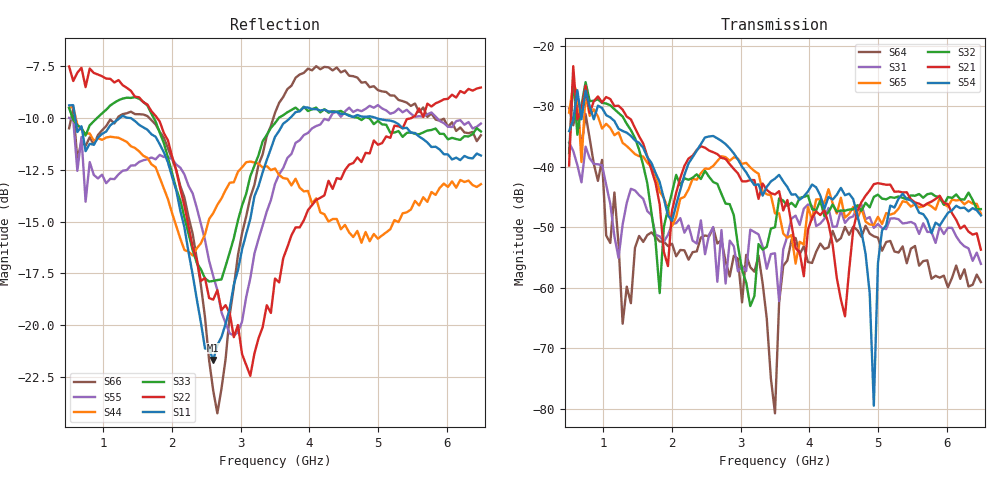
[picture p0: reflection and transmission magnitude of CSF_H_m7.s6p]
!Keysight Technologies,M9804A,MY58100912,A.14.10.03
!Date: Thursday, April 27, 2023 10:28:33
!Correction: S11(C  6-Port  )
!S12(C  6-Port  )
!S13(C  6-Port  )
!S14(C  6-Port  )
!S15(C  6-Port  )
!S16(C  6-Port  )
!S21(C  6-Port  )
!S22(C  6-Port  )
!S23(C  6-Port  )
!S24(C  6-Port  )
!S25(C  6-Port  )
!S26(C  6-Port  )
!S31(C  6-Port  )
!S32(C  6-Port  )
!S33(C  6-Port  )
!S34(C  6-Port  )
!S35(C  6-Port  )
!S36(C  6-Port  )
!S41(C  6-Port  )
!S42(C  6-Port  )
!S43(C  6-Port  )
!S44(C  6-Port  )
!S45(C  6-Port  )
!S46(C  6-Port  )
!S51(C  6-Port  )
!S52(C  6-Port  )
!S53(C  6-Port  )
!S54(C  6-Port  )
!S55(C  6-Port  )
!S56(C  6-Port  )
!S61(C  6-Port  )
!S62(C  6-Port  )
!S63(C  6-Port  )
!S64(C  6-Port  )
!S65(C  6-Port  )
!S66(C  6-Port  )
!S6P File: Measurement: :
# Hz S  RI  R 50
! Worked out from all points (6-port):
!   101 points, 500 MHz to 6.5 GHz, reference 50 ohm
!   strongest paths, dB at 500 MHz, 2 GHz, 3.5 GHz, 5 GHz, 6.5 GHz:
!     S54: -34.1, -48.9, -41.9, -55.9, -48.0
!     S21: -39.8, -47.2, -44.6, -42.7, -53.7
!     S32: -37.7, -44.2, -50.0, -44.6, -47.0
!     S65: -31.0, -49.8, -47.7, -48.2, -47.7
!     S31: -36.0, -49.5, -54.3, -49.4, -56.0
!     S64: -30.3, -52.7, -80.7, -51.7, -59.0
!   lowest |S11| = -21.7 dB at 2.6 GHz (marker M1), VSWR 1.18, Z = 42.6 + j1.99 ohm
!   |S11| at or under -10 dB: 588.8 MHz to 1.239 GHz (650.3 MHz wide, 71.2 % of centre); 1.393 GHz to 3.719 GHz (2.326 GHz wide, 91 % of centre); 4.972 GHz to end of sweep
